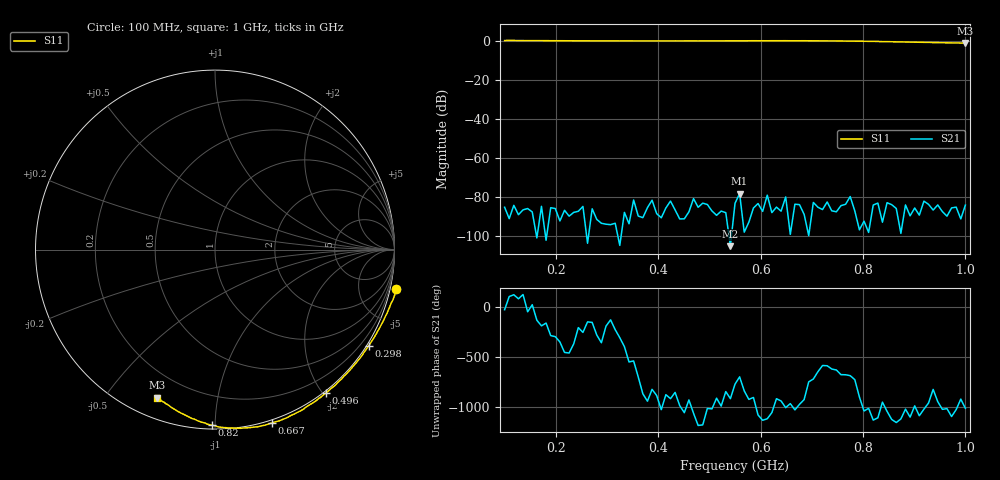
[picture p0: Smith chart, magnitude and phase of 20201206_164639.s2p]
# HZ S RI R 50
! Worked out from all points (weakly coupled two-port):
!   101 points, 100 MHz to 1 GHz, reference 50 ohm
!   highest |S21| = -78.03 dB at 559 MHz (marker M1); lowest = -105.0 dB at 541 MHz (marker M2)
!   lowest |S11| = -1.1 dB at 1 GHz (marker M3), VSWR 16.47, Z = 4.45 - j34 ohm
!   |S11| at or under -10 dB: nowhere
!   S12 and S22 are empty: the file has one direction only
!   S11 on the Smith chart (normalised r, x): 100 MHz: -1.34, -9.10; 298 MHz: -0.07, -3.49; 496 MHz: -0.03, -2.04; 667 MHz: -0.02, -1.38; 820 MHz: 0.02, -0.98; 1 GHz: 0.09, -0.68
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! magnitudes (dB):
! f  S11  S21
! 100 MHz  0.3  -85.1
! 253 MHz  0.1  -84.7
! 298 MHz  0.1  -93.7
! 406 MHz  0.1  -90.5
! 496 MHz  0.1  -83.7
! 541 MHz  0.1  -105.0
! 550 MHz  0.1  -83.1
! 559 MHz  0.1  -78.0
! 568 MHz  0.1  -97.8
! 604 MHz  0.1  -87.2
! 613 MHz  0.1  -78.9
! 622 MHz  0.2  -87.8
! 640 MHz  0.2  -87.1
! 649 MHz  0.2  -79.8
! 667 MHz  0.1  -83.5
! 703 MHz  0.1  -82.6
! 766 MHz  0.0  -83.5
! 775 MHz  0.0  -79.6
! 784 MHz  -0.1  -87.0
! 820 MHz  -0.2  -83.9
! 856 MHz  -0.4  -83.7
! 1 GHz  -1.1  -84.0
